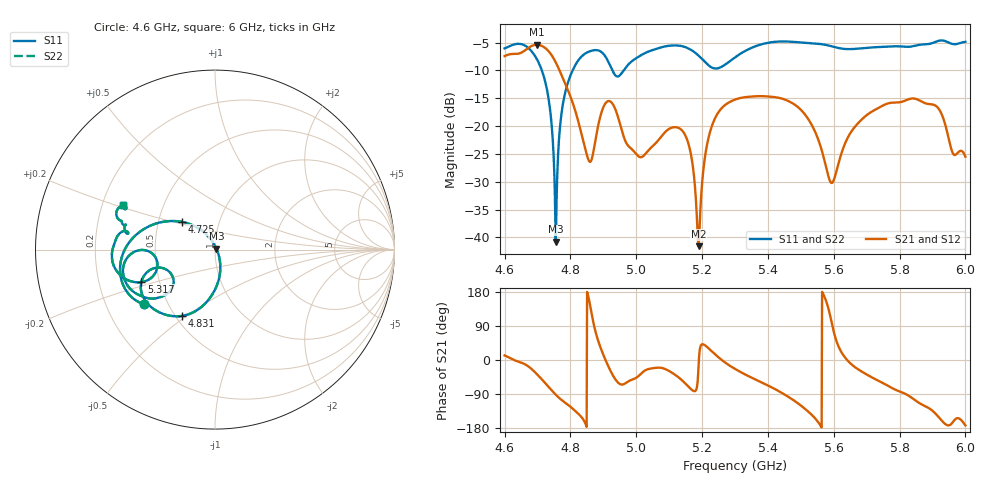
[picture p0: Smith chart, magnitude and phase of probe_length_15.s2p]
! TOUCHSTONE file generated by CST MICROWAVE STUDIO
! Date and time: Sat Nov 30 13:12:03 2024
! Project name: test_tuning.cst
! Parameters = {airCoaxOuterDiameter=3; chamferAngle=45; chamferWidth=24; connectorLength=10; drillingHoleDiameter=4.1; feedLength=60; flareDiameter=130; flareLength=70; gratingDistance=0; gratingGap=1.90274; outletLength=30; polarizerLength=134; probe1Diameter=1.3; probe1Distance=14; probe1Length=1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
! Header version: 2024
! Port assignment regex: !\s*Touchstone port\s*([0-9]+)\s*=\s*(CST MWS port|CST DES external port|CST DES block port)\s*(.+)\s* \(\"(.*)\"\)(\s*mode\s*([0-9]+))?.*
! Touchstone port assignment:
! Touchstone port 1 = CST MWS port 1 ("Input1")
! Touchstone port 2 = CST MWS port 2 ("Input2")
# GHz S MA R 50
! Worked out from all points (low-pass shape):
!   1001 points, 4.6 GHz to 6 GHz, reference 50 ohm
!   highest |S21| = -5.38 dB at 4.698 GHz (marker M1); lowest = -41.6 dB at 5.189 GHz (marker M2)
!   |S21| within 3 dB of the highest: start of sweep to 4.754 GHz
!   lowest |S11| = -40.8 dB at 4.755 GHz (marker M3), VSWR 1.02, Z = 50.8 + j0.439 ohm
!   |S11| at or under -10 dB: 4.713 GHz to 4.807 GHz (93.31 MHz wide, 1.96 % of centre); 4.928 GHz to 4.962 GHz (34.02 MHz wide, 0.688 % of centre)
!   |S22| runs from -40.8 to -4.6 dB; largest |S21 - S12| = 8.3e-07
!   S11 on the Smith chart (normalised r, x): 4.6 GHz: 0.37, -0.30; 4.725 GHz: 0.66, +0.22; 4.831 GHz: 0.54, -0.48; 5.317 GHz: 0.40, -0.18; 6 GHz: 0.29, +0.21
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4.6  0.4993 -142.5  0.4256 12.0  0.4256 12.0  0.4993 -142.5
4.698  0.3996 162.0  0.5384 -37.2  0.5384 -37.2  0.3996 162.0
4.7246  0.242 140.3  0.5 -62.1  0.5 -62.1  0.242 140.3
4.7554  0.009159 28.1  0.3739 -91.6  0.3739 -91.6  0.009158 28.1
4.7806  0.1796 -84.4  0.2545 -110.5  0.2545 -110.5  0.1796 -84.4
4.831  0.414 -116.7  0.09131 -148.1  0.09131 -148.1  0.414 -116.7
4.8338  0.4223 -118.5  0.08466 -150.9  0.08466 -150.9  0.4223 -118.5
4.8618  0.4732 -134.5  0.04826 135.2  0.04826 135.2  0.4732 -134.5
4.9178  0.3646 -163.0  0.1681 -21.6  0.1681 -21.6  0.3646 -163.0
5.006  0.4186 -140.0  0.05376 -43.0  0.05376 -43.0  0.4186 -140.0
5.0676  0.5018 -150.7  0.07508 -20.1  0.07508 -20.1  0.5018 -150.7
5.1488  0.5127 -171.2  0.08293 -61.7  0.08293 -61.7  0.5127 -171.2
5.1894  0.4297 -179.3  0.008353 -13.4  0.008353 -13.4  0.4297 -179.3
5.2258  0.341 -174.6  0.0922 26.0  0.0922 26.0  0.341 -174.6
5.3  0.4149 -155.6  0.1731 -23.4  0.1731 -23.4  0.4149 -155.6
5.3168  0.448 -156.2  0.1791 -31.7  0.1791 -31.7  0.448 -156.2
5.5338  0.5556 174.3  0.1016 -145.3  0.1016 -145.3  0.5556 174.3
5.594  0.5213 168.7  0.03088 97.9  0.03088 97.9  0.5213 168.7
5.6584  0.4929 169.6  0.0937 -14.8  0.0937 -14.8  0.4929 169.6
5.7676  0.5186 166.5  0.1608 -69.4  0.1608 -69.4  0.5186 166.5
5.909  0.5713 162.0  0.1529 -141.3  0.1529 -141.3  0.5713 162.0
6  0.5718 154.0  0.05316 -172.7  0.05316 -172.7  0.5718 154.0
